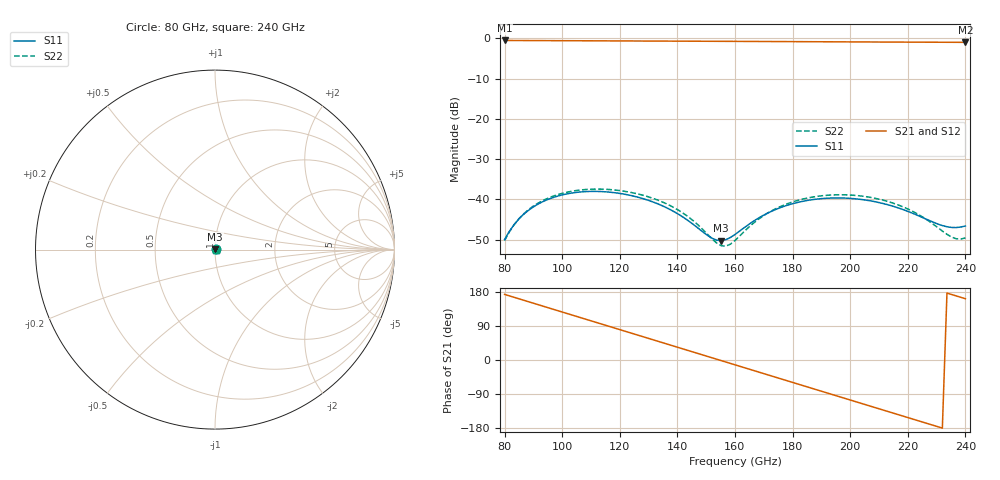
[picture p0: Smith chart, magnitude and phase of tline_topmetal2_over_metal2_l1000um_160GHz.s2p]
#  GHZ S DB R 50
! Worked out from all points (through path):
!   101 points, 80 GHz to 240 GHz, reference 50 ohm
!   highest |S21| = -0.53 dB at 80 GHz (marker M1); lowest = -1.0 dB at 240 GHz (marker M2)
!   group delay of S21, straight-line fit = 6.45 ps
!   lowest |S11| = -50.2 dB at 155.2 GHz (marker M3), VSWR 1.01, Z = 50.2 + j0.26 ohm
!   |S11| at or under -10 dB: start of sweep to end of sweep
!   |S22| runs from -51.6 to -37.4 dB; largest |S21 - S12| = 2.1e-14
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80  -49.95 22.6  -0.53 173.1  -0.53 173.1  -50.20 24.0
84.8  -44.96 -9.2  -0.54 161.9  -0.54 161.9  -44.93 -9.1
91.2  -41.32 -34.9  -0.56 147.1  -0.56 147.1  -41.09 -34.7
99.2  -39.01 -61.4  -0.58 128.5  -0.58 128.5  -38.64 -60.9
107.2  -38.09 -86.2  -0.61 109.9  -0.61 109.9  -37.59 -85.2
113.6  -38.04 -105.7  -0.63 95.0  -0.63 95.0  -37.44 -104.1
120  -38.51 -125.2  -0.64 80.2  -0.64 80.2  -37.80 -123.0
126.4  -39.47 -145.3  -0.66 65.3  -0.66 65.3  -38.66 -142.1
134.4  -41.46 -172.4  -0.68 46.7  -0.68 46.7  -40.52 -167.4
145.6  -46.25 138.0  -0.71 20.7  -0.71 20.7  -45.35 148.8
152  -49.63 90.0  -0.73 5.9  -0.73 5.9  -49.76 106.2
155.2  -50.24 57.5  -0.74 -1.6  -0.74 -1.6  -51.49 71.5
160  -48.70 12.1  -0.75 -12.7  -0.75 -12.7  -50.19 15.2
172.8  -42.90 -57.8  -0.79 -42.4  -0.79 -42.4  -42.80 -58.3
180.8  -40.91 -88.0  -0.82 -61.0  -0.82 -61.0  -40.44 -86.9
187.2  -40.02 -110.3  -0.84 -75.9  -0.84 -75.9  -39.38 -107.8
200  -39.74 -153.9  -0.88 -105.5  -0.88 -105.5  -38.91 -148.2
206.4  -40.27 -176.2  -0.90 -120.4  -0.90 -120.4  -39.41 -168.4
214.4  -41.59 154.2  -0.93 -138.9  -0.93 -138.9  -40.80 165.2
227.2  -45.15 94.6  -0.96 -168.6  -0.96 -168.6  -45.32 113.5
235.2  -46.95 40.4  -0.98 172.9  -0.98 172.9  -49.33 57.4
240  -46.59 4.1  -0.99 161.7  -0.99 161.7  -49.55 9.2
